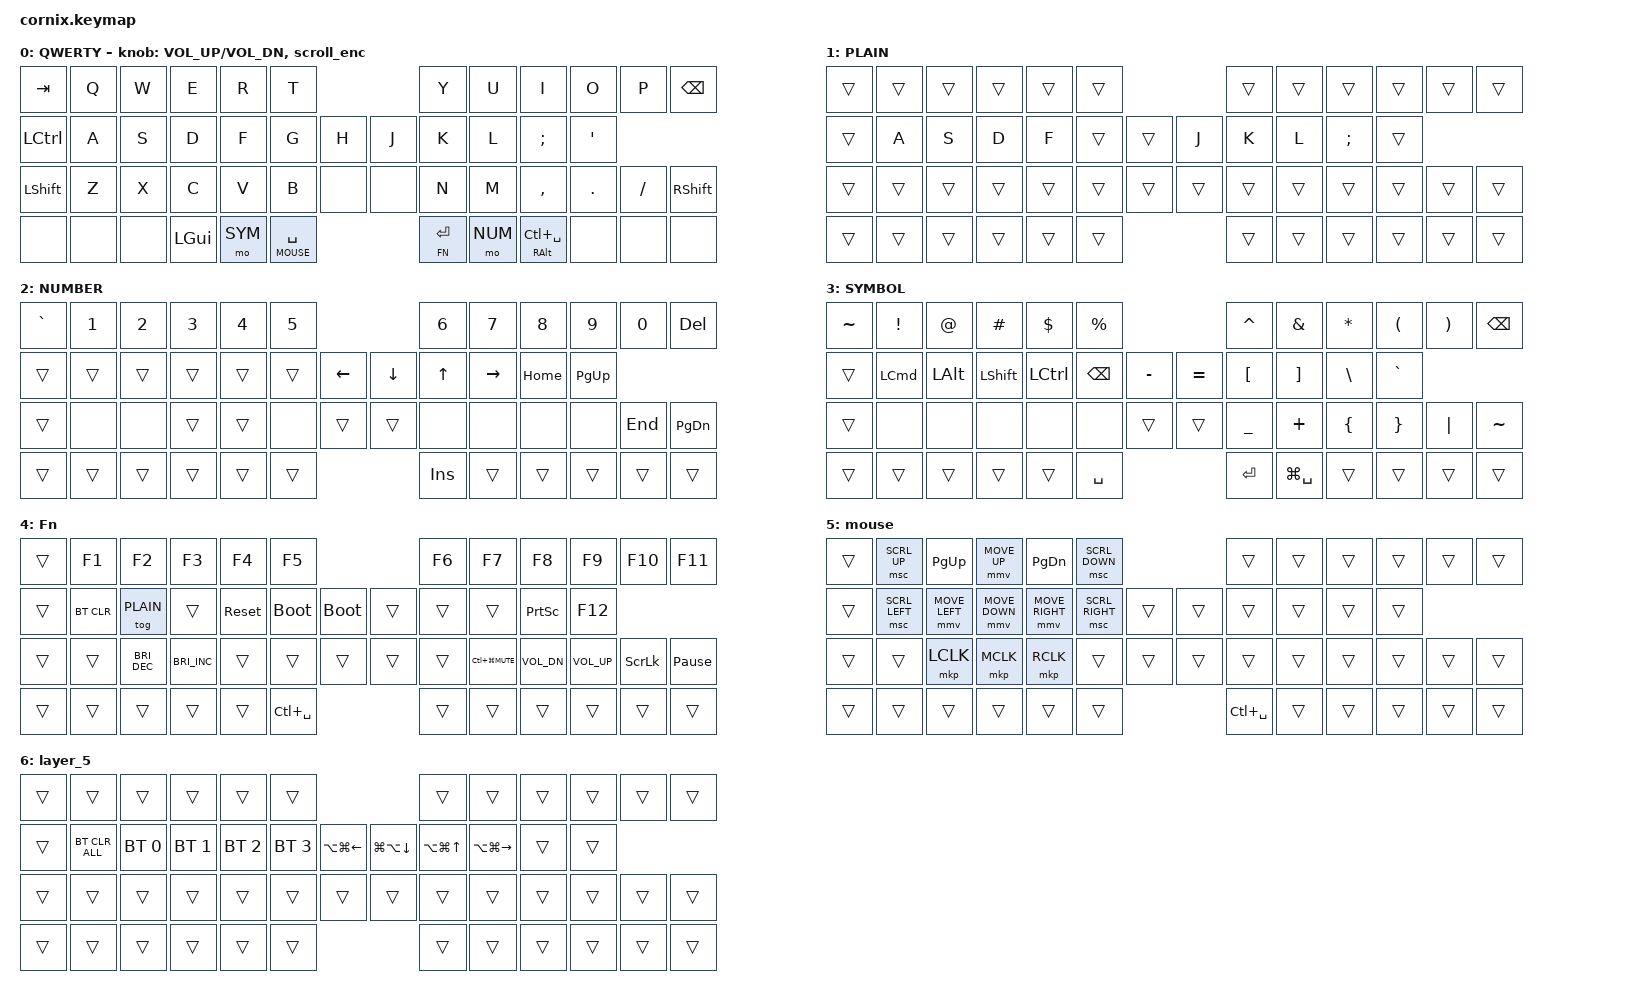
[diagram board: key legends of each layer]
/*
 * Copyright (c) 2020 The ZMK Contributors
 *
 * SPDX-License-Identifier: MIT
 */

#include <behaviors.dtsi>
#include <dt-bindings/zmk/bt.h>
#include <dt-bindings/zmk/keys.h>
#include <dt-bindings/zmk/pointing.h>

#define BASE 0
#define PLAIN 1
#define NUM 2
#define SYM 3
#define FN 4
#define MOUSE 5
#define SYS 6

/ {
    behaviors {
        td0: td0 {
            compatible = "zmk,behavior-tap-dance";
            label = "TD0";
            #binding-cells = <0>;
            bindings = <&kp LEFT_SHIFT>, <&kp CAPS>;
        };

        esc_dance: esc_dance {
            compatible = "zmk,behavior-tap-dance";
            label = "ESC_DANCE";
            #binding-cells = <0>;
            bindings = <&kp LCTRL>, <&kp ESC>;
        };

        scroll_enc: scroll_encoder {
            compatible = "zmk,behavior-sensor-rotate";
            #sensor-binding-cells = <0>;
            bindings = <&msc SCRL_DOWN>, <&msc SCRL_UP>;
            tap-ms = <30>;
        };
    };

    combos {
        compatible = "zmk,combos";

        esc_combo {
            bindings = <&kp ESC>;
            key-positions = <19 20>;
            layers = <BASE PLAIN>;
        };

        layer_5 {
            bindings = <&mo SYS>;
            key-positions = <42 45>;
        };

        newHangul {
            bindings = <&kp LC(SPACE)>;
            key-positions = <43 44>;
            layers = <BASE PLAIN>;
        };
    };

    keymap {
        compatible = "zmk,keymap";

        default_layer {
            display-name = "QWERTY";

            // --------------------------------------------------------------------------------
            // |  TAB |  Q  |  W  |  E  |  R  |  T  |   |  Y  |  U   |  I  |  O  |  P  | BKSP |
            // | CTRL |  A  |  S  |  D  |  F  |  G  |   |  H  |  J   |  K  |  L  |  ;  |  '   |
            // | SHFT |  Z  |  X  |  C  |  V  |  B  |   |  N  |  M   |  ,  |  .  |  /  | SHFT |
            //                    | GUI | SYM | SPC |   | ENT | NUM  | ALT |
            // Encoders: left = volume, right = scroll.

            bindings = <
&kp TAB         &kp Q          &kp W         &kp E          &kp R          &kp T                                     &kp Y           &kp U          &kp I                    &kp O         &kp P          &kp BSPC
&kp LCTRL       &kp A    &kp S   &kp D   &kp F   &kp G                                     &kp H           &kp J   &kp K             &kp L   &kp SEMI &kp SQT
&kp LEFT_SHIFT  &kp Z          &kp X         &kp C          &kp V          &kp B              &none         &none    &kp N           &kp M          &kp COMMA                &kp DOT       &kp FSLH       &kp RIGHT_SHIFT
&none           &none          &none         &kp LGUI       &mo SYM        &lt MOUSE SPACE                           &lt FN ENTER    &mo NUM        &mt RIGHT_ALT LC(SPACE)  &none         &none          &none
            >;

            sensor-bindings = <&inc_dec_kp C_VOL_UP C_VOL_DN &scroll_enc>;
        };

        plain_layer {
            display-name = "PLAIN";

            // Toggle from the Fn layer.

            bindings = <
&trans  &trans  &trans  &trans  &trans  &trans                    &trans  &trans  &trans  &trans  &trans    &trans
&trans  &kp A   &kp S   &kp D   &kp F   &trans                    &trans  &kp J   &kp K   &kp L   &kp SEMI  &trans
&trans  &trans  &trans  &trans  &trans  &trans  &trans    &trans  &trans  &trans  &trans  &trans  &trans    &trans
&trans  &trans  &trans  &trans  &trans  &trans                    &trans  &trans  &trans  &trans  &trans    &trans
            >;
        };

        lower_layer {
            display-name = "NUMBER";

            // &none keys are RGB controls on the corne; Cornix builds without underglow.

            bindings = <
&kp GRAVE  &kp N1  &kp N2  &kp N3  &kp N4  &kp N5                     &kp N6           &kp N7          &kp N8        &kp N9           &kp N0    &kp DELETE
&trans     &trans  &trans  &trans  &trans  &trans                     &kp LEFT_ARROW   &kp DOWN_ARROW  &kp UP_ARROW  &kp RIGHT_ARROW  &kp HOME  &kp PG_UP
&trans     &none   &none   &trans  &trans  &none   &trans    &trans   &none            &none           &none         &none            &kp END   &kp PG_DN
&trans     &trans  &trans  &trans  &trans  &trans                     &kp INS          &trans          &trans        &trans           &trans    &trans
            >;
        };

        raise_layer {
            display-name = "SYMBOL";

            bindings = <
&kp TILDE  &kp EXCL          &kp AT        &kp HASH        &kp DLLR   &kp PRCNT                         &kp CARET  &kp AMPS       &kp ASTRK  &kp LPAR  &kp RPAR  &kp BSPC
&trans     &kp LEFT_COMMAND  &kp LEFT_ALT  &kp LEFT_SHIFT  &kp LCTRL  &kp BACKSPACE                     &kp MINUS  &kp EQUAL      &kp LBKT   &kp RBKT  &kp BSLH  &kp GRAVE
&trans     &none             &none         &none           &none      &none          &trans    &trans   &kp UNDER  &kp PLUS       &kp LBRC   &kp RBRC  &kp PIPE  &kp TILDE
&trans     &trans            &trans        &trans          &trans     &kp SPACE                         &kp RET    &kp LG(SPACE)  &trans     &trans    &trans    &trans
            >;
        };

        layer_3 {
            display-name = "Fn";

            bindings = <
&trans  &kp F1      &kp F2         &kp F3         &kp F4      &kp F5                             &kp F6       &kp F7              &kp F8        &kp F9           &kp F10          &kp F11
&trans  &bt BT_CLR  &tog PLAIN     &trans         &sys_reset  &bootloader                        &bootloader  &trans              &trans        &trans           &kp PRINTSCREEN  &kp F12
&trans  &trans      &kp C_BRI_DEC  &kp C_BRI_INC  &trans      &trans         &trans    &trans    &trans       &kp LC(LG(K_MUTE))  &kp C_VOL_DN  &kp C_VOLUME_UP  &kp SCROLLLOCK   &kp PAUSE_BREAK
&trans  &trans      &trans         &trans         &trans      &kp LC(SPACE)                      &trans       &trans              &trans        &trans           &trans           &trans
            >;
        };

        mouse {
            bindings = <
&trans  &msc SCRL_UP    &kp PAGE_UP     &mmv MOVE_UP    &kp PAGE_DOWN    &msc SCRL_DOWN                       &trans         &trans  &trans  &trans  &trans  &trans
&trans  &msc SCRL_LEFT  &mmv MOVE_LEFT  &mmv MOVE_DOWN  &mmv MOVE_RIGHT  &msc SCRL_RIGHT                      &trans         &trans  &trans  &trans  &trans  &trans
&trans  &trans          &mkp LCLK       &mkp MCLK       &mkp RCLK        &trans           &trans    &trans    &trans         &trans  &trans  &trans  &trans  &trans
&trans  &trans          &trans          &trans          &trans           &trans                               &kp LC(SPACE)  &trans  &trans  &trans  &trans  &trans
            >;
        };

        layer_5 {
            bindings = <
&trans  &trans          &trans        &trans        &trans        &trans                       &trans            &trans                  &trans                &trans             &trans  &trans
&trans  &bt BT_CLR_ALL  &bt BT_SEL 0  &bt BT_SEL 1  &bt BT_SEL 2  &bt BT_SEL 3                 &kp LA(LG(LEFT))  &kp LG(LA(DOWN_ARROW))  &kp LA(LG(UP_ARROW))  &kp LA(LG(RIGHT))  &trans  &trans
&trans  &trans          &trans        &trans        &trans        &trans        &trans  &trans &trans            &trans                  &trans                &trans             &trans  &trans
&trans  &trans          &trans        &trans        &trans        &trans                       &trans            &trans                  &trans                &trans             &trans  &trans
            >;
        };
    };
};
